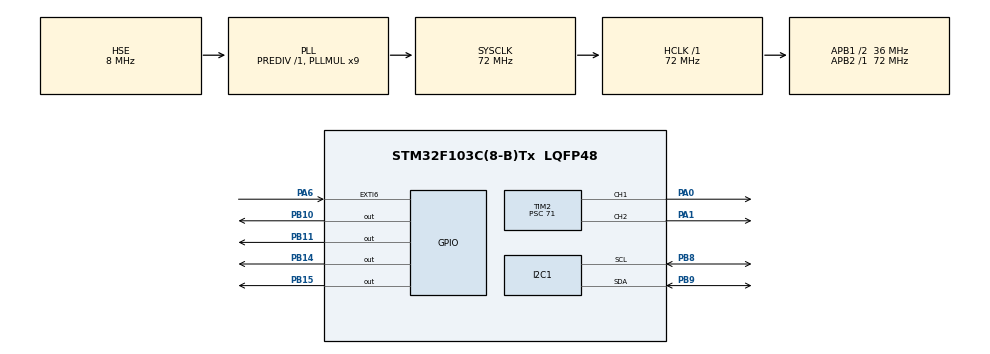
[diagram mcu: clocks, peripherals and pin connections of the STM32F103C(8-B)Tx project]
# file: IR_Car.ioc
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I2C1.DutyCycle=I2C_DUTYCYCLE_16_9
I2C1.I2C_Mode=I2C_Fast
Mcu.Family=STM32F1
Mcu.Name=STM32F103C(8-B)Tx
Mcu.Package=LQFP48
NVIC.EXTI9_5_IRQn=true\:0\:0\:false\:false\:true\:true\:true\:true
NVIC.PriorityGroup=NVIC_PRIORITYGROUP_4
NVIC.RCC_IRQn=true\:0\:0\:false\:false\:true\:true\:false\:true
PA0-WKUP.Signal=S_TIM2_CH1_ETR
PA1.Signal=S_TIM2_CH2
PA13.Mode=Serial_Wire
PA13.Signal=SYS_JTMS-SWDIO
PA14.Mode=Serial_Wire
PA14.Signal=SYS_JTCK-SWCLK
PA6.GPIO_ModeDefaultEXTI=GPIO_MODE_IT_RISING_FALLING
PA6.GPIO_PuPd=GPIO_PULLUP
PA6.Signal=GPXTI6
PB10.Signal=GPIO_Output
PB11.Signal=GPIO_Output
PB14.Signal=GPIO_Output
PB15.Signal=GPIO_Output
PB8.Mode=I2C
PB8.Signal=I2C1_SCL
PB9.Mode=I2C
PB9.Signal=I2C1_SDA
PD0-OSC_IN.Mode=HSE-External-Oscillator
PD0-OSC_IN.Signal=RCC_OSC_IN
PD1-OSC_OUT.Mode=HSE-External-Oscillator
PD1-OSC_OUT.Signal=RCC_OSC_OUT
ProjectManager.HeapSize=0x200
ProjectManager.StackSize=0x400
ProjectManager.TargetToolchain=MDK-ARM V5.32
RCC.AHBFreq_Value=72000000
RCC.APB1CLKDivider=RCC_HCLK_DIV2
RCC.APB1Freq_Value=36000000
RCC.APB1TimFreq_Value=72000000
RCC.APB2Freq_Value=72000000
RCC.APB2TimFreq_Value=72000000
RCC.HCLKFreq_Value=72000000
RCC.PLLMUL=RCC_PLL_MUL9
RCC.PLLSourceVirtual=RCC_PLLSOURCE_HSE
RCC.SYSCLKFreq_VALUE=72000000
RCC.SYSCLKSource=RCC_SYSCLKSOURCE_PLLCLK
RCC.USBFreq_Value=72000000
SH.S_TIM2_CH1_ETR.0=TIM2_CH1,PWM Generation1 CH1
SH.S_TIM2_CH2.0=TIM2_CH2,PWM Generation2 CH2
TIM2.Channel-PWM\ Generation1\ CH1=TIM_CHANNEL_1
TIM2.Channel-PWM\ Generation2\ CH2=TIM_CHANNEL_2
TIM2.Period=999
TIM2.Prescaler=71
TIM3.Prescaler=71
VP_TIM2_VS_ClockSourceINT.Mode=Internal
VP_TIM3_VS_ClockSourceINT.Mode=Internal
board=custom

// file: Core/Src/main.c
/* USER CODE BEGIN Header */
/**
  ******************************************************************************
  * @file           : main.c
  * @brief          : Main program body
  ******************************************************************************
  * @attention
  *
  * Copyright (c) 2026 STMicroelectronics.
  * All rights reserved.
  *
  * This software is licensed under terms that can be found in the LICENSE file
  * in the root directory of this software component.
  * If no LICENSE file comes with this software, it is provided AS-IS.
  *
  ******************************************************************************
  */
/* USER CODE END Header */
#include "main.h"
#include "i2c.h"
#include "tim.h"
#include "gpio.h"

/* USER CODE BEGIN Includes */
#include "oled.h"
#include "ir.h"
#include "motor.h"
/* USER CODE END Includes */

void SystemClock_Config(void);

/* USER CODE BEGIN 0 */
static volatile uint8_t motor_is_hold = 0;
/* USER CODE END 0 */

int main(void)
{

  /* MCU Configuration--------------------------------------------------------*/

  /* Reset of all peripherals, Initializes the Flash interface and the Systick. */
  HAL_Init();

  /* Configure the system clock */
  SystemClock_Config();

  /* Initialize all configured peripherals */
  MX_GPIO_Init();
  MX_I2C1_Init();
  MX_TIM2_Init();
  MX_TIM3_Init();
  /* USER CODE BEGIN 2 */
	HAL_TIM_Base_Start(&htim3);
	HAL_TIM_PWM_Start(&htim2, TIM_CHANNEL_1);
	HAL_TIM_PWM_Start(&htim2, TIM_CHANNEL_2);
	OLED_Init();
	OLED_ShowString(1, 1, "Data:");
	OLED_ShowString(2, 1, "Dir:");
	OLED_ShowString(3, 1, "dur:");
	OLED_ShowString(4, 1, "hold:");
  /* USER CODE END 2 */

  /* Infinite loop */
  /* USER CODE BEGIN WHILE */
  while (1)
  {
		OLED_ShowHexNum(1, 7, IR_GetData(), 2);
		OLED_ShowString(2, 7, (uint8_t*)IR_GetDir());
		OLED_ShowNum(3, 7, IR_GetDur(), 5);
		IR_Set_is_hold();
		motor_is_hold = IR_GetIsHold();
		OLED_ShowNum(4, 7, motor_is_hold, 5);
		Motor_StateMachine(motor_is_hold);

    /* USER CODE END WHILE */

  }
}

void SystemClock_Config(void)
{
  RCC_OscInitTypeDef RCC_OscInitStruct = {0};
  RCC_ClkInitTypeDef RCC_ClkInitStruct = {0};

  /** Initializes the RCC Oscillators according to the specified parameters
  * in the RCC_OscInitTypeDef structure.
  */
  RCC_OscInitStruct.OscillatorType = RCC_OSCILLATORTYPE_HSE;
  RCC_OscInitStruct.HSEState = RCC_HSE_ON;
  RCC_OscInitStruct.HSEPredivValue = RCC_HSE_PREDIV_DIV1;
  RCC_OscInitStruct.HSIState = RCC_HSI_ON;
  RCC_OscInitStruct.PLL.PLLState = RCC_PLL_ON;
  RCC_OscInitStruct.PLL.PLLSource = RCC_PLLSOURCE_HSE;
  RCC_OscInitStruct.PLL.PLLMUL = RCC_PLL_MUL9;
  if (HAL_RCC_OscConfig(&RCC_OscInitStruct) != HAL_OK)
  {
    Error_Handler();
  }

  /** Initializes the CPU, AHB and APB buses clocks
  */
  RCC_ClkInitStruct.ClockType = RCC_CLOCKTYPE_HCLK|RCC_CLOCKTYPE_SYSCLK
                              |RCC_CLOCKTYPE_PCLK1|RCC_CLOCKTYPE_PCLK2;
  RCC_ClkInitStruct.SYSCLKSource = RCC_SYSCLKSOURCE_PLLCLK;
  RCC_ClkInitStruct.AHBCLKDivider = RCC_SYSCLK_DIV1;
  RCC_ClkInitStruct.APB1CLKDivider = RCC_HCLK_DIV2;
  RCC_ClkInitStruct.APB2CLKDivider = RCC_HCLK_DIV1;

  if (HAL_RCC_ClockConfig(&RCC_ClkInitStruct, FLASH_LATENCY_2) != HAL_OK)
  {
    Error_Handler();
  }
}

void Error_Handler(void)
{
  __disable_irq();
  while (1)
  {
  }
}
